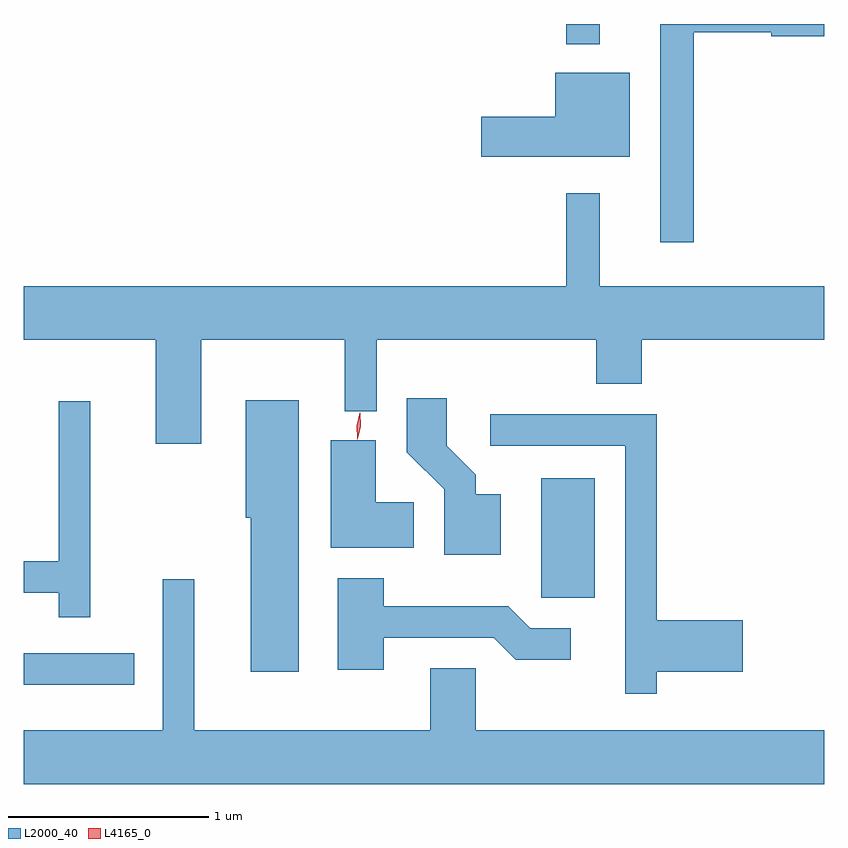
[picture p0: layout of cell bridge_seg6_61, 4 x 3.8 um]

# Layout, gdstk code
import gdstk
lib = gdstk.Library(unit=1e-6, precision=1e-09)
def R(c, l, rs):  # rectangles x0, y0, x1, y1
    for r in rs: c.add(gdstk.rectangle(r[:2], r[2:], *l))
def P(c, l, *ps):  # polygons
    for p in ps: c.add(gdstk.Polygon(p, *l))
L2000_40 = (2000, 40)
L4165_0 = (4165, 0)

bridge_seg6_61 = lib.new_cell('bridge_seg6_61')
R(bridge_seg6_61, L2000_40, [(1401.821,1608.251,1402.373,1608.409), (1404.406,1608.686,1404.674,1609.284), (1404.531,1611.453,1404.699,1611.553)])
P(bridge_seg6_61, L2000_40, [(1405.169,1611.511),(1405.556,1611.511),(1405.556,1611.491),(1405.821,1611.491),(1405.821,1611.553),(1405.001,1611.553),(1405.001,1610.463),(1405.169,1610.463)],
  [(1404.849,1611.309),(1404.476,1611.309),(1404.476,1611.089),(1404.106,1611.089),(1404.106,1610.891),(1404.849,1610.891)],
  [(1401.821,1609.976),(1402.481,1609.976),(1402.481,1609.456),(1402.709,1609.456),(1402.709,1609.976),(1403.426,1609.976),(1403.426,1609.618),(1403.584,1609.618),(1403.584,1609.976),(1404.681,1609.976),(1404.681,1609.756),(1404.909,1609.756),(1404.909,1609.976),(1405.821,1609.976),(1405.821,1610.244),(1404.699,1610.244),(1404.699,1610.708),(1404.531,1610.708),(1404.531,1610.244),(1401.821,1610.244)],
  [(1404.204,1609.204),(1404.079,1609.204),(1404.079,1609.302),(1403.934,1609.447),(1403.934,1609.684),(1403.736,1609.684),(1403.736,1609.414),(1403.921,1609.229),(1403.921,1608.901),(1404.204,1608.901)],
  [(1403.194,1609.674),(1402.931,1609.674),(1402.931,1609.086),(1402.956,1609.086),(1402.956,1608.316),(1403.194,1608.316)],
  [(1402.154,1609.668),(1401.996,1609.668),(1401.996,1608.869),(1401.821,1608.869),(1401.821,1608.711),(1401.996,1608.711),(1401.996,1608.588),(1402.154,1608.588)],
  [(1404.984,1608.316),(1405.414,1608.316),(1405.414,1608.574),(1404.984,1608.574),(1404.984,1609.604),(1404.153,1609.604),(1404.153,1609.446),(1404.826,1609.446),(1404.826,1608.208),(1404.984,1608.208)],
  [(1403.769,1609.164),(1403.579,1609.164),(1403.579,1609.474),(1403.356,1609.474),(1403.356,1608.936),(1403.769,1608.936)],
  [(1403.619,1608.486),(1404.169,1608.486),(1404.279,1608.376),(1404.553,1608.376),(1404.553,1608.534),(1404.352,1608.534),(1404.242,1608.644),(1403.619,1608.644),(1403.619,1608.784),(1403.391,1608.784),(1403.391,1608.326),(1403.619,1608.326)],
  [(1405.821,1608.024),(1404.079,1608.024),(1404.079,1608.334),(1403.851,1608.334),(1403.851,1608.024),(1402.674,1608.024),(1402.674,1608.778),(1402.516,1608.778),(1402.516,1608.024),(1401.821,1608.024),(1401.821,1607.756),(1405.821,1607.756)])
P(bridge_seg6_61, L4165_0, [(1403.488,1609.479),(1403.488,1609.48),(1403.485,1609.546),(1403.5,1609.611),(1403.501,1609.611),(1403.502,1609.611),(1403.504,1609.544),(1403.489,1609.48)])

lib.write_gds('bridge_seg6_61.gds')
